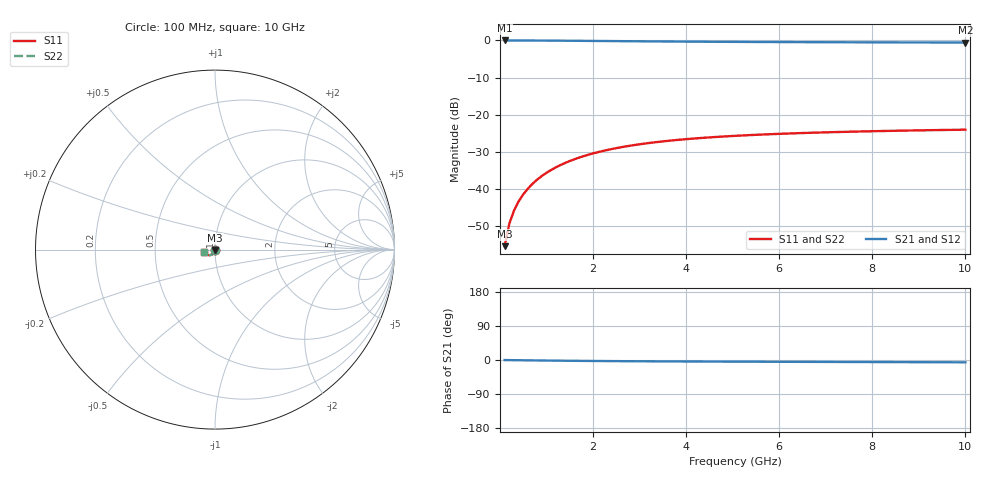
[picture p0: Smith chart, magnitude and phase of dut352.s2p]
! Touchstone file exported from HFSS 2024.1.0
!  File:  C:/UserFiles/LocalFiles/RDL_TSV_Batchsim/temp_TSV1_352_1779620230.aedt
!  Generated:  07:02:41 PM May 24, 2026
!  Design:  TSV1
!  Project:  temp_TSV1_352_1779620230
!  Setup:  Setup1
!  Solution:  Sweep
! Variables:
!  dtsv = 11.24um
!  hbump = 3um
!  htsv = 97.44um
!  lrdl = 252.1521522um
!  p = 40
!  p1 = 45.85um
!  t = 500um
!  trdl = 3um
!  wrdl = 24.89489489um
# GHz S MA R 50.000000
! Terminal data exported
! Port[1] = TSV22_T1
! Port[2] = TSV22_T2
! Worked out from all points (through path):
!   100 points, 100 MHz to 10 GHz, reference 50 ohm
!   highest |S21| = 0.00 dB at 100 MHz (marker M1); lowest = -0.6 dB at 10 GHz (marker M2)
!   lowest |S11| = -55.4 dB at 100 MHz (marker M3), VSWR 1.00, Z = 50 - j0.17 ohm
!   |S11| at or under -10 dB: start of sweep to end of sweep
!   |S22| runs from -55.4 to -24.0 dB; largest |S21 - S12| = 3e-15
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0.1  0.001706 -87.2  0.9998 -0.2  0.9998 -0.2  0.001706 -87.2
! Gamma 0 0 0 0
! Port Impedance 50 0 50 0
0.2  0.003405 -90.8  0.9997 -0.3  0.9997 -0.3  0.003405 -90.8
0.3  0.005103 -93.1  0.9994 -0.5  0.9994 -0.5  0.005103 -93.1
0.4  0.006796 -95.1  0.999 -0.6  0.999 -0.6  0.006796 -95.1
0.5  0.008478 -96.9  0.9986 -0.8  0.9986 -0.8  0.008478 -96.9
0.6  0.01014 -98.6  0.9981 -0.9  0.9981 -0.9  0.01014 -98.6
0.7  0.01179 -100.3  0.9975 -1.0  0.9975 -1.0  0.01179 -100.3
0.8  0.01341 -102.0  0.9968 -1.2  0.9968 -1.2  0.01341 -102.0
0.9  0.015 -103.6  0.9961 -1.3  0.9961 -1.3  0.015 -103.6
1.1  0.01809 -106.8  0.9944 -1.6  0.9944 -1.6  0.01809 -106.8
1.4  0.02247 -111.3  0.9916 -1.9  0.9916 -1.9  0.02247 -111.3
1.6  0.0252 -114.1  0.9895 -2.2  0.9895 -2.2  0.0252 -114.1
1.8  0.02778 -116.9  0.9873 -2.4  0.9873 -2.4  0.02778 -116.9
2.1  0.03135 -120.7  0.9839 -2.7  0.9839 -2.7  0.03135 -120.7
2.5  0.03557 -125.4  0.9794 -3.0  0.9794 -3.0  0.03557 -125.4
2.9  0.03924 -129.7  0.9751 -3.3  0.9751 -3.3  0.03924 -129.7
3.4  0.04313 -134.5  0.97 -3.6  0.97 -3.6  0.04313 -134.5
4.2  0.04807 -141.1  0.9629 -4.0  0.9629 -4.0  0.04807 -141.1
5.1  0.05223 -147.1  0.9564 -4.4  0.9564 -4.4  0.05223 -147.1
6.7  0.0573 -155.6  0.9479 -5.0  0.9479 -5.0  0.0573 -155.6
8.4  0.06076 -162.5  0.9418 -5.6  0.9418 -5.6  0.06076 -162.5
10  0.063 -167.8  0.9378 -6.1  0.9378 -6.1  0.063 -167.8
